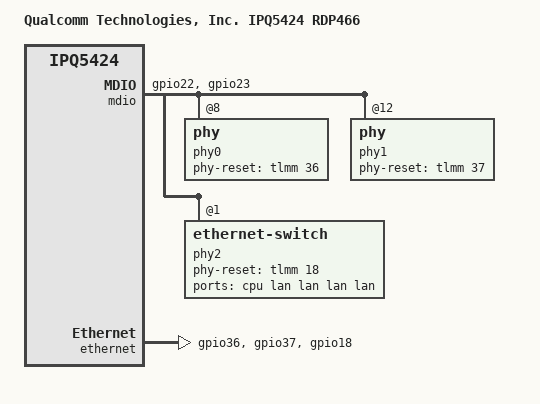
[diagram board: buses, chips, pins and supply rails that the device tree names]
// SPDX-License-Identifier: GPL-2.0-only
/*
 * Copyright (c) Qualcomm Technologies, Inc. and/or its subsidiaries.
 */

/dts-v1/;

#include "ipq5424.dtsi"

/ {
	model = "Qualcomm Technologies, Inc. IPQ5424 RDP466";
	compatible = "qcom,ipq5424-rdp466", "qcom,ipq5424";

	aliases {
		serial0 = &uart1;
	};

	soc@0 {
		mdio: mdio@90000 {
			pinctrl-names = "default";
			pinctrl-0 = <&mdio_pinmux>;
			status = "okay";

			phy0: phy@8 {
				phy-reset-gpio = <&tlmm 36 0>;
				phy_addr = <8>;
				phy_type = <QCA81xx_PHY_TYPE>;
				id = <1>;
				uniphy_id = <0>;
				uniphy_type = <0>;
				xgmac;
			};

			phy1: phy@12 {
				phy-reset-gpio = <&tlmm 37 0>;
				phy_addr = <12>;
				phy_type = <QCA81xx_PHY_TYPE>;
				id = <2>;
				uniphy_id = <1>;
				uniphy_type = <0>;
				xgmac;
			};

			phy2: ethernet-switch@1 {
				phy-reset-gpio = <&tlmm 18 0>;
				dev-mode = <0x1>;
				phy_addr = <1>;
				phy_type = <QCA8x8x_SWITCH_TYPE>;
				id = <3>;
				uniphy_id = <2>;
				uniphy_type = <0>;
				max_speed = <2500>;
				force-speed;
				xgmac;
				ports {
					#address-cells = <1>;
					#size-cells = <0>;

					port0: port@0 {
						phy_addr = <0>;
						label = "cpu";
						phy-mode = "2500base-x";
						fixed-link {
							speed = <2500>;
							full-duplex;
						};
					};

					port1: port@1 {
						phy_addr = <1>;
						label = "lan";
					};

					port2: port@2 {
						phy_addr = <2>;
						label = "lan";
					};

					port3: port@3 {
						phy_addr = <3>;
						label = "lan";
					};

					port4: port@4 {
						phy_addr = <4>;
						label = "lan";
					};
				};
			};
		};

		ethernet: nss-switch {
			pinctrl-names = "default";
			pinctrl-0 = <&phy_rst_pinmux>;
			phy-handle0 = <&phy0>;
			phy-handle1 = <&phy1>;
			phy-handle2 = <&phy2>;
			status = "okay";
		};
	};
};

&tlmm {
	mdio_pinmux: mdio {
		mdc {
			pins = "gpio22";
			function = "mdc_mst";
			drive-strength = <8>;
			bias-disable;
		};

		mdio {
			pins = "gpio23";
			function = "mdio_mst";
			drive-strength = <8>;
			bias-pull-up;
		};
	};

	phy_rst_pinmux: phy_rst {
		qti_laguna0_rst {
			pins = "gpio36";
			drive-strength = <8>;
			bias-pull-up;
		};

		qti_laguna1_rst {
			pins = "gpio37";
			drive-strength = <8>;
			bias-pull-up;
		};

		qti_8x8x_rst {
			pins = "gpio18";
			drive-strength = <8>;
			bias-pull-up;
		};
	};
};
